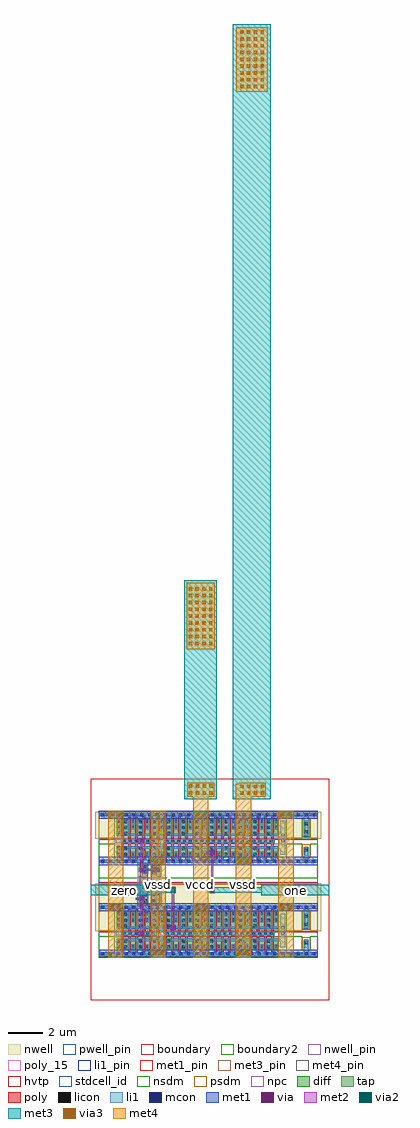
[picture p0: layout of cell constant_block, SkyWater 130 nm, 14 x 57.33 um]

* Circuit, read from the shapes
.subckt constant_block one vccd vssd zero
XM1 n1 vssd vssd vssd sky130_fd_pr__nfet_01v8 w=0.65 l=0.15 m=6
XM2 n2 vccd vssd vssd sky130_fd_pr__nfet_01v8 w=0.65 l=0.15 m=6
XM3 zero n1 vssd vssd sky130_fd_pr__nfet_01v8 w=0.65 l=0.15 m=16
XM4 one n2 vssd vssd sky130_fd_pr__nfet_01v8 w=0.65 l=0.15 m=16
XM5 n1 vssd vccd vccd sky130_fd_pr__pfet_01v8_hvt w=1 l=0.15 m=6
XM6 n2 vccd vccd vccd sky130_fd_pr__pfet_01v8_hvt w=1 l=0.15 m=6
XM7 zero n1 vccd vccd sky130_fd_pr__pfet_01v8_hvt w=1 l=0.15 m=16
XM8 one n2 vccd vccd sky130_fd_pr__pfet_01v8_hvt w=1 l=0.15 m=16
.ends

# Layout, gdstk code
from math import pi, radians
import gdstk
lib = gdstk.Library(unit=1e-6, precision=1e-09)
def R(c, l, rs):  # rectangles x0, y0, x1, y1
    for r in rs: c.add(gdstk.rectangle(r[:2], r[2:], *l))
def A(c, l, x, y, w, h, nx, ny, dx, dy):  # array of equal rectangles
    R(c, l, [(x+i*dx, y+j*dy, x+i*dx+w, y+j*dy+h) for i in range(nx) for j in range(ny)])
def P(c, l, *ps):  # polygons
    for p in ps: c.add(gdstk.Polygon(p, *l))
nwell_pin = (64, 16)
nwell = (64, 20)
diff = (65, 20)
tap = (65, 44)
poly_15 = (66, 15)
poly = (66, 20)
licon = (66, 44)
li1_pin = (67, 16)
li1 = (67, 20)
mcon = (67, 44)
met1_pin = (68, 16)
met1 = (68, 20)
via = (68, 44)
met2 = (69, 20)
via2 = (69, 44)
met3_pin = (70, 16)
met3 = (70, 20)
via3 = (70, 44)
met4_pin = (71, 16)
met4 = (71, 20)
hvtp = (78, 44)
stdcell_id = (81, 4)
nsdm = (93, 44)
psdm = (94, 20)
npc = (95, 20)
pwell_pin = (122, 16)
boundary = (235, 4)
boundary2 = (236, 0)

sky130_fd_sc_hd__buf_16 = lib.new_cell('sky130_fd_sc_hd__buf_16')
R(sky130_fd_sc_hd__buf_16, nwell_pin, [(0.15,2.635,0.32,2.805)])
R(sky130_fd_sc_hd__buf_16, nwell, [(-0.19,1.305,10.31,2.91)])
R(sky130_fd_sc_hd__buf_16, diff, [(0.135,0.235,9.625,0.885), (0.135,1.485,9.625,2.485)])
P(sky130_fd_sc_hd__buf_16, poly, [(0.395,0.105),(0.395,2.615),(0.545,2.615),(0.545,1.295),(0.815,1.295),(0.815,2.615),(0.965,2.615),(0.965,1.295),(1.235,1.295),(1.235,2.615),(1.385,2.615),(1.385,1.295),(1.655,1.295),(1.655,2.615),(1.805,2.615),(1.805,1.295),(2.075,1.295),(2.075,2.615),(2.225,2.615),(2.225,1.295),(2.495,1.295),(2.495,2.615),(2.645,2.615),(2.645,0.105),(2.495,0.105),(2.495,1.025),(2.225,1.025),(2.225,0.105),(2.075,0.105),(2.075,1.025),(1.805,1.025),(1.805,0.105),(1.655,0.105),(1.655,1.025),(1.385,1.025),(1.385,0.105),(1.235,0.105),(1.235,1.025),(0.965,1.025),(0.965,0.105),(0.815,0.105),(0.815,1.025),(0.545,1.025),(0.545,0.105)],
  [(2.915,0.105),(2.915,2.615),(3.065,2.615),(3.065,1.295),(3.335,1.295),(3.335,2.615),(3.485,2.615),(3.485,1.295),(3.755,1.295),(3.755,2.615),(3.905,2.615),(3.905,1.295),(4.175,1.295),(4.175,2.615),(4.325,2.615),(4.325,1.295),(4.595,1.295),(4.595,2.615),(4.745,2.615),(4.745,1.295),(5.015,1.295),(5.015,2.615),(5.165,2.615),(5.165,1.295),(5.435,1.295),(5.435,2.615),(5.585,2.615),(5.585,1.295),(5.855,1.295),(5.855,2.615),(6.005,2.615),(6.005,1.295),(6.275,1.295),(6.275,2.615),(6.425,2.615),(6.425,1.295),(6.695,1.295),(6.695,2.615),(6.845,2.615),(6.845,1.295),(7.115,1.295),(7.115,2.615),(7.265,2.615),(7.265,1.295),(7.535,1.295),(7.535,2.615),(7.685,2.615),(7.685,1.295),(7.955,1.295),(7.955,2.615),(8.105,2.615),(8.105,1.295),(8.375,1.295),(8.375,2.615),(8.525,2.615),(8.525,1.295),(8.795,1.295),(8.795,2.615),(8.945,2.615),(8.945,1.295),(9.215,1.295),(9.215,2.615),(9.365,2.615),(9.365,1.295),(9.385,1.295),(9.385,1.025),(9.365,1.025),(9.365,0.105),(9.215,0.105),(9.215,1.025),(8.945,1.025),(8.945,0.105),(8.795,0.105),(8.795,1.025),(8.525,1.025),(8.525,0.105),(8.375,0.105),(8.375,1.025),(8.105,1.025),(8.105,0.105),(7.955,0.105),(7.955,1.025),(7.685,1.025),(7.685,0.105),(7.535,0.105),(7.535,1.025),(7.265,1.025),(7.265,0.105),(7.115,0.105),(7.115,1.025),(6.845,1.025),(6.845,0.105),(6.695,0.105),(6.695,1.025),(6.425,1.025),(6.425,0.105),(6.275,0.105),(6.275,1.025),(6.005,1.025),(6.005,0.105),(5.855,0.105),(5.855,1.025),(5.585,1.025),(5.585,0.105),(5.435,0.105),(5.435,1.025),(5.165,1.025),(5.165,0.105),(5.015,0.105),(5.015,1.025),(4.745,1.025),(4.745,0.105),(4.595,0.105),(4.595,1.025),(4.325,1.025),(4.325,0.105),(4.175,0.105),(4.175,1.025),(3.905,1.025),(3.905,0.105),(3.755,0.105),(3.755,1.025),(3.485,1.025),(3.485,0.105),(3.335,0.105),(3.335,1.025),(3.065,1.025),(3.065,0.105)])
A(sky130_fd_sc_hd__buf_16, licon, 0.175, 0.315, 0.17, 0.17, 23, 1, 0.42, 0)
A(sky130_fd_sc_hd__buf_16, licon, 0.595, 0.655, 0.17, 0.17, 11, 2, 0.84, 0.89)
A(sky130_fd_sc_hd__buf_16, licon, 0.515, 1.075, 0.17, 0.17, 6, 1, 0.34, 0)
A(sky130_fd_sc_hd__buf_16, licon, 3.015, 1.075, 0.17, 0.17, 19, 1, 0.34, 0)
A(sky130_fd_sc_hd__buf_16, licon, 0.595, 1.885, 0.17, 0.17, 11, 2, 0.84, 0.34)
A(sky130_fd_sc_hd__buf_16, licon, 0.175, 1.915, 0.17, 0.17, 12, 2, 0.84, 0.34)
R(sky130_fd_sc_hd__buf_16, licon, [(0.175,0.655,0.345,0.825), (0.175,1.575,0.345,1.745)])
R(sky130_fd_sc_hd__buf_16, li1_pin, [(1.53,1.105,1.7,1.275), (1.99,1.105,2.16,1.275), (9.805,1.105,9.975,1.275), (9.805,1.445,9.975,1.615)])
R(sky130_fd_sc_hd__buf_16, li1, [(0.085,1.075,2.485,1.275)])
P(sky130_fd_sc_hd__buf_16, li1, [(0,-0.085),(0,0.085),(0.175,0.085),(0.175,0.905),(0.345,0.905),(0.345,0.085),(1.015,0.085),(1.015,0.565),(1.185,0.565),(1.185,0.085),(1.855,0.085),(1.855,0.565),(2.025,0.565),(2.025,0.085),(2.695,0.085),(2.695,0.565),(2.865,0.565),(2.865,0.085),(3.535,0.085),(3.535,0.565),(3.705,0.565),(3.705,0.085),(4.375,0.085),(4.375,0.565),(4.545,0.565),(4.545,0.085),(5.215,0.085),(5.215,0.565),(5.385,0.565),(5.385,0.085),(6.055,0.085),(6.055,0.565),(6.225,0.565),(6.225,0.085),(6.895,0.085),(6.895,0.565),(7.065,0.565),(7.065,0.085),(7.735,0.085),(7.735,0.565),(7.905,0.565),(7.905,0.085),(8.575,0.085),(8.575,0.565),(8.745,0.565),(8.745,0.085),(9.415,0.085),(9.415,0.565),(9.585,0.565),(9.585,0.085),(10.12,0.085),(10.12,-0.085)],
  [(0.175,1.445),(0.175,2.635),(0,2.635),(0,2.805),(10.12,2.805),(10.12,2.635),(9.585,2.635),(9.585,1.835),(9.415,1.835),(9.415,2.635),(8.745,2.635),(8.745,1.835),(8.575,1.835),(8.575,2.635),(7.905,2.635),(7.905,1.835),(7.735,1.835),(7.735,2.635),(7.065,2.635),(7.065,1.835),(6.895,1.835),(6.895,2.635),(6.225,2.635),(6.225,1.835),(6.055,1.835),(6.055,2.635),(5.385,2.635),(5.385,1.835),(5.215,1.835),(5.215,2.635),(4.545,2.635),(4.545,1.835),(4.375,1.835),(4.375,2.635),(3.705,2.635),(3.705,1.835),(3.535,1.835),(3.535,2.635),(2.865,2.635),(2.865,1.835),(2.695,1.835),(2.695,2.635),(2.025,2.635),(2.025,1.835),(1.855,1.835),(1.855,2.635),(1.185,2.635),(1.185,1.835),(1.015,1.835),(1.015,2.635),(0.345,2.635),(0.345,1.445)],
  [(0.515,0.26),(0.515,0.905),(2.69,0.905),(2.69,1.445),(0.515,1.445),(0.515,2.465),(0.845,2.465),(0.845,1.615),(1.355,1.615),(1.355,2.465),(1.685,2.465),(1.685,1.615),(2.195,1.615),(2.195,2.465),(2.525,2.465),(2.525,1.615),(2.865,1.615),(2.865,1.275),(9.41,1.275),(9.41,1.075),(2.865,1.075),(2.865,0.735),(2.525,0.735),(2.525,0.26),(2.195,0.26),(2.195,0.735),(1.685,0.735),(1.685,0.26),(1.355,0.26),(1.355,0.735),(0.845,0.735),(0.845,0.26)],
  [(3.035,0.255),(3.035,0.905),(9.655,0.905),(9.655,1.445),(3.035,1.445),(3.035,2.465),(3.365,2.465),(3.365,1.615),(3.875,1.615),(3.875,2.465),(4.205,2.465),(4.205,1.615),(4.715,1.615),(4.715,2.465),(5.045,2.465),(5.045,1.615),(5.555,1.615),(5.555,2.465),(5.885,2.465),(5.885,1.615),(6.395,1.615),(6.395,2.465),(6.725,2.465),(6.725,1.615),(7.235,1.615),(7.235,2.465),(7.565,2.465),(7.565,1.615),(8.075,1.615),(8.075,2.465),(8.405,2.465),(8.405,1.615),(8.915,1.615),(8.915,2.465),(9.245,2.465),(9.245,1.615),(9.76,1.615),(9.76,2.36),(10.035,2.36),(10.035,0.365),(9.76,0.365),(9.76,0.735),(9.245,0.735),(9.245,0.26),(8.915,0.26),(8.915,0.735),(8.405,0.735),(8.405,0.26),(8.075,0.26),(8.075,0.735),(7.565,0.735),(7.565,0.26),(7.235,0.26),(7.235,0.735),(6.725,0.735),(6.725,0.26),(6.395,0.26),(6.395,0.735),(5.885,0.735),(5.885,0.26),(5.555,0.26),(5.555,0.735),(5.045,0.735),(5.045,0.26),(4.965,0.26),(4.965,0.255),(4.795,0.255),(4.795,0.26),(4.715,0.26),(4.715,0.735),(4.205,0.735),(4.205,0.26),(4.125,0.26),(4.125,0.255),(3.955,0.255),(3.955,0.26),(3.875,0.26),(3.875,0.735),(3.365,0.735),(3.365,0.26),(3.285,0.26),(3.285,0.255)])
A(sky130_fd_sc_hd__buf_16, mcon, 0.145, -0.085, 0.17, 0.17, 22, 2, 0.46, 2.72)
R(sky130_fd_sc_hd__buf_16, met1_pin, [(0.15,-0.085,0.32,0.085), (0.15,2.635,0.32,2.805)])
R(sky130_fd_sc_hd__buf_16, hvtp, [(0,1.25,10.12,2.72)])
R(sky130_fd_sc_hd__buf_16, stdcell_id, [(0,0,10.12,2.72)])
R(sky130_fd_sc_hd__buf_16, nsdm, [(0,-0.19,10.12,1.015)])
R(sky130_fd_sc_hd__buf_16, psdm, [(0,1.355,10.12,2.91)])
R(sky130_fd_sc_hd__buf_16, npc, [(0,0.975,10.12,1.345)])
R(sky130_fd_sc_hd__buf_16, pwell_pin, [(0.15,-0.085,0.32,0.085)])
R(sky130_fd_sc_hd__buf_16, boundary2, [(0,0,10.12,2.72)])
sky130_fd_sc_hd__buf_16.add(gdstk.FlexPath([(0,0),(10.12,0)], 0.48, ends="flush", simple_path=True, layer=68, datatype=20))  # met1
sky130_fd_sc_hd__buf_16.add(gdstk.FlexPath([(0,2.72),(10.12,2.72)], 0.48, ends="flush", simple_path=True, layer=68, datatype=20))  # met1
sky130_fd_sc_hd__buf_16.add(gdstk.Label('A', (2.075,1.19), layer=67, texttype=5))
sky130_fd_sc_hd__buf_16.add(gdstk.Label('A', (1.615,1.19), layer=67, texttype=5))
sky130_fd_sc_hd__buf_16.add(gdstk.Label('X', (9.89,1.19), layer=67, texttype=5))
sky130_fd_sc_hd__buf_16.add(gdstk.Label('X', (9.89,1.53), layer=67, texttype=5))
sky130_fd_sc_hd__buf_16.add(gdstk.Label('VPB', (0.235,2.72), layer=64, texttype=5))
sky130_fd_sc_hd__buf_16.add(gdstk.Label('VNB', (0.235,0), layer=64, texttype=59))
sky130_fd_sc_hd__buf_16.add(gdstk.Label('VGND', (0.23,0), layer=68, texttype=5))
sky130_fd_sc_hd__buf_16.add(gdstk.Label('VPWR', (0.23,2.72), layer=68, texttype=5))
sky130_fd_sc_hd__buf_16.add(gdstk.Label('buf_16', (0,0), layer=83, texttype=44))

sky130_fd_sc_hd__tapvpwr = lib.new_cell('sky130_fd_sc_hd__tapvpwrvgnd_1')
R(sky130_fd_sc_hd__tapvpwr, nwell, [(-0.19,1.305,0.65,2.91)])
R(sky130_fd_sc_hd__tapvpwr, tap, [(0.145,0.32,0.315,0.845), (0.145,1.525,0.315,2.4)])
R(sky130_fd_sc_hd__tapvpwr, licon, [(0.145,0.555,0.315,0.725), (0.145,1.645,0.315,1.815), (0.145,2.11,0.315,2.28)])
R(sky130_fd_sc_hd__tapvpwr, li1, [(0,-0.085,0.46,0.085), (0.085,0,0.375,0.81), (0.085,1.47,0.375,2.72), (0,2.635,0.46,2.805)])
R(sky130_fd_sc_hd__tapvpwr, mcon, [(0.145,-0.085,0.315,0.085), (0.145,2.635,0.315,2.805)])
R(sky130_fd_sc_hd__tapvpwr, met1_pin, [(0.105,-0.09,0.36,0.1), (0.11,2.62,0.375,2.765)])
R(sky130_fd_sc_hd__tapvpwr, met1, [(0,-0.24,0.46,0.24), (0,2.48,0.46,2.96)])
R(sky130_fd_sc_hd__tapvpwr, hvtp, [(0,1.25,0.46,2.72)])
R(sky130_fd_sc_hd__tapvpwr, stdcell_id, [(0,0,0.46,2.72)])
R(sky130_fd_sc_hd__tapvpwr, nsdm, [(0,-0.19,0.46,0.19), (0,1.395,0.46,2.53)])
R(sky130_fd_sc_hd__tapvpwr, psdm, [(0,0.19,0.46,0.975), (0,2.53,0.46,2.91)])
sky130_fd_sc_hd__tapvpwr.add(gdstk.Label('VPWR', (0.23,2.72), layer=68, texttype=5))
sky130_fd_sc_hd__tapvpwr.add(gdstk.Label('VGND', (0.23,0), layer=68, texttype=5))
sky130_fd_sc_hd__tapvpwr.add(gdstk.Label('tapvpwrvgnd_1', (0,0), layer=83, texttype=44))

sky130_fd_sc_hd__fill_1 = lib.new_cell('sky130_fd_sc_hd__fill_1')
R(sky130_fd_sc_hd__fill_1, nwell_pin, [(0.155,2.67,0.255,2.755)])
R(sky130_fd_sc_hd__fill_1, nwell, [(-0.19,1.305,0.65,2.91)])
R(sky130_fd_sc_hd__fill_1, mcon, [(0.145,-0.085,0.315,0.085), (0.145,2.635,0.315,2.805)])
R(sky130_fd_sc_hd__fill_1, met1_pin, [(0.11,-0.065,0.29,0.08), (0.11,2.635,0.29,2.785)])
R(sky130_fd_sc_hd__fill_1, hvtp, [(0,1.25,0.46,2.72)])
R(sky130_fd_sc_hd__fill_1, stdcell_id, [(0,0,0.46,2.72)])
R(sky130_fd_sc_hd__fill_1, nsdm, [(0,-0.19,0.46,1.015)])
R(sky130_fd_sc_hd__fill_1, psdm, [(0,1.355,0.46,2.91)])
R(sky130_fd_sc_hd__fill_1, pwell_pin, [(0.14,-0.055,0.26,0.055)])
sky130_fd_sc_hd__fill_1.add(gdstk.FlexPath([(0,0),(0.46,0)], 0.17, ends="flush", simple_path=True, layer=67, datatype=20))  # li1
sky130_fd_sc_hd__fill_1.add(gdstk.FlexPath([(0,2.72),(0.46,2.72)], 0.17, ends="flush", simple_path=True, layer=67, datatype=20))  # li1
sky130_fd_sc_hd__fill_1.add(gdstk.FlexPath([(0,2.72),(0.46,2.72)], 0.48, ends="flush", simple_path=True, layer=68, datatype=20))  # met1
sky130_fd_sc_hd__fill_1.add(gdstk.FlexPath([(0,0),(0.46,0)], 0.48, ends="flush", simple_path=True, layer=68, datatype=20))  # met1
sky130_fd_sc_hd__fill_1.add(gdstk.Label('VPB', (0.23,2.72), layer=64, texttype=5))
sky130_fd_sc_hd__fill_1.add(gdstk.Label('VNB', (0.23,0), layer=64, texttype=59))
sky130_fd_sc_hd__fill_1.add(gdstk.Label('VPWR', (0.205,2.72), layer=68, texttype=5))
sky130_fd_sc_hd__fill_1.add(gdstk.Label('VGND', (0.205,0), layer=68, texttype=5))
sky130_fd_sc_hd__fill_1.add(gdstk.Label('fill_1', (0,0), layer=83, texttype=44))

sky130_fd_sc_hd__fill_2 = lib.new_cell('sky130_fd_sc_hd__fill_2')
R(sky130_fd_sc_hd__fill_2, nwell_pin, [(0.14,2.675,0.31,2.765)])
R(sky130_fd_sc_hd__fill_2, nwell, [(-0.19,1.305,1.11,2.91)])
R(sky130_fd_sc_hd__fill_2, mcon, [(0.145,-0.085,0.315,0.085), (0.605,-0.085,0.775,0.085), (0.145,2.635,0.315,2.805), (0.605,2.635,0.775,2.805)])
R(sky130_fd_sc_hd__fill_2, met1_pin, [(0.1,-0.07,0.365,0.09), (0.105,2.65,0.365,2.805)])
R(sky130_fd_sc_hd__fill_2, hvtp, [(0,1.25,0.92,2.72)])
R(sky130_fd_sc_hd__fill_2, stdcell_id, [(0,0,0.92,2.72)])
R(sky130_fd_sc_hd__fill_2, nsdm, [(0,-0.19,0.92,1.015)])
R(sky130_fd_sc_hd__fill_2, psdm, [(0,1.355,0.92,2.91)])
R(sky130_fd_sc_hd__fill_2, pwell_pin, [(0.155,-0.05,0.315,0.06)])
sky130_fd_sc_hd__fill_2.add(gdstk.FlexPath([(0,0),(0.92,0)], 0.17, ends="flush", simple_path=True, layer=67, datatype=20))  # li1
sky130_fd_sc_hd__fill_2.add(gdstk.FlexPath([(0,2.72),(0.92,2.72)], 0.17, ends="flush", simple_path=True, layer=67, datatype=20))  # li1
sky130_fd_sc_hd__fill_2.add(gdstk.FlexPath([(0,2.72),(0.92,2.72)], 0.48, ends="flush", simple_path=True, layer=68, datatype=20))  # met1
sky130_fd_sc_hd__fill_2.add(gdstk.FlexPath([(0,0),(0.92,0)], 0.48, ends="flush", simple_path=True, layer=68, datatype=20))  # met1
sky130_fd_sc_hd__fill_2.add(gdstk.Label('VPB', (0.23,2.72), layer=64, texttype=5))
sky130_fd_sc_hd__fill_2.add(gdstk.Label('VNB', (0.23,0), layer=64, texttype=59))
sky130_fd_sc_hd__fill_2.add(gdstk.Label('VGND', (0.23,0), layer=68, texttype=5))
sky130_fd_sc_hd__fill_2.add(gdstk.Label('VPWR', (0.23,2.72), layer=68, texttype=5))
sky130_fd_sc_hd__fill_2.add(gdstk.Label('fill_2', (0,0), layer=83, texttype=44))

sky130_fd_sc_hd__fill_8 = lib.new_cell('sky130_fd_sc_hd__fill_8')
R(sky130_fd_sc_hd__fill_8, nwell_pin, [(0.1,2.61,0.385,2.765)])
R(sky130_fd_sc_hd__fill_8, nwell, [(-0.19,1.305,3.87,2.91)])
A(sky130_fd_sc_hd__fill_8, mcon, 0.145, -0.085, 0.17, 0.17, 8, 2, 0.46, 2.72)
R(sky130_fd_sc_hd__fill_8, met1_pin, [(0.175,-0.1,0.335,0.05), (0.145,2.615,0.335,2.775)])
R(sky130_fd_sc_hd__fill_8, hvtp, [(0,1.25,3.68,2.72)])
R(sky130_fd_sc_hd__fill_8, stdcell_id, [(0,0,3.68,2.72)])
R(sky130_fd_sc_hd__fill_8, nsdm, [(0,-0.19,3.68,1.015)])
R(sky130_fd_sc_hd__fill_8, psdm, [(0,1.355,3.68,2.91)])
R(sky130_fd_sc_hd__fill_8, pwell_pin, [(0.13,-0.12,0.35,0.05)])
sky130_fd_sc_hd__fill_8.add(gdstk.FlexPath([(0,0),(3.68,0)], 0.17, ends="flush", simple_path=True, layer=67, datatype=20))  # li1
sky130_fd_sc_hd__fill_8.add(gdstk.FlexPath([(0,2.72),(3.68,2.72)], 0.17, ends="flush", simple_path=True, layer=67, datatype=20))  # li1
sky130_fd_sc_hd__fill_8.add(gdstk.FlexPath([(0,2.72),(3.68,2.72)], 0.48, ends="flush", simple_path=True, layer=68, datatype=20))  # met1
sky130_fd_sc_hd__fill_8.add(gdstk.FlexPath([(0,0),(3.68,0)], 0.48, ends="flush", simple_path=True, layer=68, datatype=20))  # met1
sky130_fd_sc_hd__fill_8.add(gdstk.Label('VPB', (0.23,2.72), layer=64, texttype=5))
sky130_fd_sc_hd__fill_8.add(gdstk.Label('VNB', (0.23,0), layer=64, texttype=59))
sky130_fd_sc_hd__fill_8.add(gdstk.Label('VGND', (0.23,0), layer=68, texttype=5))
sky130_fd_sc_hd__fill_8.add(gdstk.Label('VPWR', (0.23,2.72), layer=68, texttype=5))
sky130_fd_sc_hd__fill_8.add(gdstk.Label('fill_8', (0,0), layer=83, texttype=44))

sky130_fd_sc_hd__fill_4 = lib.new_cell('sky130_fd_sc_hd__fill_4')
R(sky130_fd_sc_hd__fill_4, nwell_pin, [(0.175,2.65,0.3,2.78)])
R(sky130_fd_sc_hd__fill_4, nwell, [(-0.19,1.305,2.03,2.91)])
A(sky130_fd_sc_hd__fill_4, mcon, 0.145, -0.085, 0.17, 0.17, 4, 2, 0.46, 2.72)
R(sky130_fd_sc_hd__fill_4, met1_pin, [(0.17,-0.05,0.285,0.045), (0.17,2.675,0.27,2.76)])
R(sky130_fd_sc_hd__fill_4, hvtp, [(0,1.25,1.84,2.72)])
R(sky130_fd_sc_hd__fill_4, stdcell_id, [(0,0,1.84,2.72)])
R(sky130_fd_sc_hd__fill_4, nsdm, [(0,-0.19,1.84,1.015)])
R(sky130_fd_sc_hd__fill_4, psdm, [(0,1.355,1.84,2.91)])
R(sky130_fd_sc_hd__fill_4, pwell_pin, [(0.175,-0.06,0.285,0.06)])
sky130_fd_sc_hd__fill_4.add(gdstk.FlexPath([(0,0),(1.84,0)], 0.17, ends="flush", simple_path=True, layer=67, datatype=20))  # li1
sky130_fd_sc_hd__fill_4.add(gdstk.FlexPath([(0,2.72),(1.84,2.72)], 0.17, ends="flush", simple_path=True, layer=67, datatype=20))  # li1
sky130_fd_sc_hd__fill_4.add(gdstk.FlexPath([(0,2.72),(1.84,2.72)], 0.48, ends="flush", simple_path=True, layer=68, datatype=20))  # met1
sky130_fd_sc_hd__fill_4.add(gdstk.FlexPath([(0,0),(1.84,0)], 0.48, ends="flush", simple_path=True, layer=68, datatype=20))  # met1
sky130_fd_sc_hd__fill_4.add(gdstk.Label('VPB', (0.23,2.72), layer=64, texttype=5))
sky130_fd_sc_hd__fill_4.add(gdstk.Label('VNB', (0.23,0), layer=64, texttype=59))
sky130_fd_sc_hd__fill_4.add(gdstk.Label('VGND', (0.23,0), layer=68, texttype=5))
sky130_fd_sc_hd__fill_4.add(gdstk.Label('VPWR', (0.23,2.72), layer=68, texttype=5))
sky130_fd_sc_hd__fill_4.add(gdstk.Label('fill_4', (0,0), layer=83, texttype=44))

sky130_fd_sc_hd__conb_1 = lib.new_cell('sky130_fd_sc_hd__conb_1')
R(sky130_fd_sc_hd__conb_1, nwell_pin, [(0.145,2.635,0.315,2.805)])
R(sky130_fd_sc_hd__conb_1, nwell, [(-0.19,1.305,1.57,2.91)])
R(sky130_fd_sc_hd__conb_1, poly_15, [(0.105,1.16,0.585,1.205), (0.795,1.16,1.275,1.205)])
R(sky130_fd_sc_hd__conb_1, poly, [(0.105,0.105,0.585,2.615), (0.795,0.105,1.275,2.615)])
R(sky130_fd_sc_hd__conb_1, licon, [(0.855,0.235,1.025,0.405), (0.355,0.255,0.525,0.425), (0.855,0.575,1.025,0.745), (0.355,0.595,0.525,0.765), (0.355,1.91,0.525,2.08), (0.855,1.91,1.025,2.08), (0.355,2.25,0.525,2.42), (0.855,2.25,1.025,2.42)])
R(sky130_fd_sc_hd__conb_1, li1_pin, [(0.335,1.125,0.505,1.295), (0.97,1.445,1.14,1.615)])
R(sky130_fd_sc_hd__conb_1, li1, [(0.085,0.255,0.605,1.74), (0.775,0.915,1.295,2.465)])
P(sky130_fd_sc_hd__conb_1, li1, [(0,-0.085),(0,0.085),(0.775,0.085),(0.775,0.745),(1.115,0.745),(1.115,0.085),(1.38,0.085),(1.38,-0.085)],
  [(0.275,1.91),(0.275,2.635),(0,2.635),(0,2.805),(1.38,2.805),(1.38,2.635),(0.605,2.635),(0.605,1.91)])
A(sky130_fd_sc_hd__conb_1, mcon, 0.145, -0.085, 0.17, 0.17, 3, 2, 0.46, 2.72)
R(sky130_fd_sc_hd__conb_1, met1_pin, [(0.145,-0.085,0.315,0.085), (0.145,2.635,0.315,2.805)])
R(sky130_fd_sc_hd__conb_1, hvtp, [(0,1.25,1.38,2.72)])
R(sky130_fd_sc_hd__conb_1, stdcell_id, [(0,0,1.38,2.72)])
R(sky130_fd_sc_hd__conb_1, nsdm, [(0,-0.19,1.38,1.015)])
R(sky130_fd_sc_hd__conb_1, psdm, [(0,2.53,1.38,2.91)])
R(sky130_fd_sc_hd__conb_1, npc, [(0.255,1.81,1.125,2.52)])
P(sky130_fd_sc_hd__conb_1, npc, [(0.255,0.135),(0.255,0.905),(0,0.905),(0,1.345),(1.38,1.345),(1.38,0.905),(1.125,0.905),(1.125,0.135)])
R(sky130_fd_sc_hd__conb_1, pwell_pin, [(0.145,-0.085,0.315,0.085)])
R(sky130_fd_sc_hd__conb_1, boundary2, [(0,0,1.38,2.72)])
sky130_fd_sc_hd__conb_1.add(gdstk.FlexPath([(0,0),(1.38,0)], 0.48, ends="flush", simple_path=True, layer=68, datatype=20))  # met1
sky130_fd_sc_hd__conb_1.add(gdstk.FlexPath([(0,2.72),(1.38,2.72)], 0.48, ends="flush", simple_path=True, layer=68, datatype=20))  # met1
sky130_fd_sc_hd__conb_1.add(gdstk.Label('LO', (1.055,1.53), layer=67, texttype=5))
sky130_fd_sc_hd__conb_1.add(gdstk.Label('HI', (0.42,1.21), layer=67, texttype=5))
sky130_fd_sc_hd__conb_1.add(gdstk.Label('VPB', (0.23,2.72), layer=64, texttype=5))
sky130_fd_sc_hd__conb_1.add(gdstk.Label('VNB', (0.23,0), layer=64, texttype=59))
sky130_fd_sc_hd__conb_1.add(gdstk.Label('VGND', (0.23,0), layer=68, texttype=5))
sky130_fd_sc_hd__conb_1.add(gdstk.Label('VPWR', (0.23,2.72), layer=68, texttype=5))
sky130_fd_sc_hd__conb_1.add(gdstk.Label('conb_1', (0,0), layer=83, texttype=44))
sky130_fd_sc_hd__conb_1.add(gdstk.Label('resistive_li1_ok', (0.225,1.365), layer=83, texttype=44))
sky130_fd_sc_hd__conb_1.add(gdstk.Label('resistive_li1_ok', (1.165,1.365), layer=83, texttype=44))
sky130_fd_sc_hd__conb_1.add(gdstk.Label('no_jumper_check', (0.93,1.29), layer=83, texttype=44))
sky130_fd_sc_hd__conb_1.add(gdstk.Label('no_jumper_check', (0.415,1.29), layer=83, texttype=44))

constant_block = lib.new_cell('constant_block')
R(constant_block, li1, [(2.905,3.825,3.075,3.995), (4.745,4.165,4.915,4.335), (2.905,5.865,3.075,6.035), (3.825,7.565,3.995,7.735), (7.045,8.585,7.215,8.755), (2.905,9.265,3.075,9.435)])
R(constant_block, mcon, [(2.905,3.825,3.075,3.995), (4.745,4.165,4.915,4.335), (2.905,5.865,3.075,6.035), (3.825,7.565,3.995,7.735), (7.045,8.585,7.215,8.755), (2.905,9.265,3.075,9.435)])
A(constant_block, met1, 0.46, 2.48, 12.88, 0.48, 1, 4, 0, 2.72)
R(constant_block, met1, [(2.83,3.78,3.15,3.84), (2.635,3.84,3.15,3.98), (2.83,3.98,3.15,4.04), (4.67,4.12,4.99,4.18), (4.475,4.18,4.99,4.32), (4.67,4.32,4.99,4.38), (2.83,5.82,3.15,5.88), (2.635,5.88,3.15,6.02), (2.83,6.02,3.15,6.08), (2.83,7.52,3.15,7.58), (3.765,7.535,4.055,7.58), (2.83,7.58,4.055,7.72), (2.83,7.72,3.15,7.78), (3.765,7.72,4.055,7.765), (6.97,8.54,7.29,8.6), (6.775,8.6,7.29,8.74), (6.97,8.74,7.29,8.8), (2.83,9.22,3.15,9.28), (2.635,9.28,3.15,9.42), (2.83,9.42,3.15,9.48)])
A(constant_block, via, 2.915, 5.875, 0.15, 0.15, 1, 3, 0, 1.7)
R(constant_block, via, [(3.725,2.645,3.875,2.795), (4.045,2.645,4.195,2.795), (8.725,2.645,8.875,2.795), (9.045,2.645,9.195,2.795), (2.915,3.835,3.065,3.985), (4.755,4.175,4.905,4.325), (1.225,5.365,1.375,5.515), (1.545,5.365,1.695,5.515), (6.225,5.365,6.375,5.515), (6.545,5.365,6.695,5.515), (11.225,5.365,11.375,5.515), (11.545,5.365,11.695,5.515), (3.725,8.085,3.875,8.235), (4.045,8.085,4.195,8.235), (8.725,8.085,8.875,8.235), (9.045,8.085,9.195,8.235), (7.055,8.595,7.205,8.745), (1.225,10.805,1.375,10.955), (1.545,10.805,1.695,10.955), (6.225,10.805,6.375,10.955), (6.545,10.805,6.695,10.955), (11.225,10.805,11.375,10.955), (11.545,10.805,11.695,10.955)])
A(constant_block, met2, 1.12, 5.255, 0.68, 0.37, 3, 2, 5, 5.44)
A(constant_block, met2, 2.86, 5.79, 0.26, 0.32, 1, 3, 0, 1.7)
R(constant_block, met2, [(3.62,2.535,4.3,2.905), (8.62,2.535,9.3,2.905), (2.86,3.75,3.12,4.07), (2.92,4.07,3.06,5.79), (4.7,4.09,4.96,4.41), (4.76,4.41,4.9,6.275), (4.69,6.275,4.97,6.645), (6.99,6.275,7.27,6.645), (7.06,6.645,7.2,8.51), (2.92,7.81,3.06,9.19), (3.62,7.975,4.3,8.345), (8.62,7.975,9.3,8.345), (7,8.51,7.26,8.83)])
R(constant_block, via2, [(3.66,2.62,3.86,2.82), (4.06,2.62,4.26,2.82), (8.66,2.62,8.86,2.82), (9.06,2.62,9.26,2.82), (1.16,5.34,1.36,5.54), (1.56,5.34,1.76,5.54), (6.16,5.34,6.36,5.54), (6.56,5.34,6.76,5.54), (11.16,5.34,11.36,5.54), (11.56,5.34,11.76,5.54), (4.73,6.36,4.93,6.56), (7.03,6.36,7.23,6.56), (3.66,8.06,3.86,8.26), (4.06,8.06,4.26,8.26), (8.66,8.06,8.86,8.26), (9.06,8.06,9.26,8.26), (1.16,10.78,1.36,10.98), (1.56,10.78,1.76,10.98), (6.16,10.78,6.36,10.98), (6.56,10.78,6.76,10.98), (11.16,10.78,11.36,10.98), (11.56,10.78,11.76,10.98)])
R(constant_block, met3_pin, [(0,6.16,4,6.76), (10,6.16,14,6.76)])
A(constant_block, met3, 1.07, 5.275, 0.78, 0.33, 3, 2, 5, 5.44)
R(constant_block, met3, [(3.57,2.555,4.35,2.885), (8.57,2.555,9.35,2.885), (0,6.16,4,6.31), (10,6.16,14,6.31), (4.665,6.295,4.995,6.31), (6.965,6.295,7.295,6.31), (0,6.31,4.995,6.61), (6.965,6.31,14,6.61), (0,6.61,4,6.76), (4.665,6.61,4.995,6.625), (6.965,6.61,7.295,6.625), (10,6.61,14,6.76), (3.57,7.995,4.35,8.325), (8.57,7.995,9.35,8.325), (5.49,11.79,7.395,24.66), (8.325,11.79,10.575,57.33)])
A(constant_block, via3, 8.775, 12.055, 0.2, 0.2, 4, 2, 0.4, 0.4)
A(constant_block, via3, 5.765, 12.06, 0.2, 0.2, 4, 2, 0.4, 0.4)
A(constant_block, via3, 5.745, 20.85, 0.2, 0.2, 4, 9, 0.4, 0.4)
A(constant_block, via3, 8.77, 53.555, 0.2, 0.2, 4, 9, 0.4, 0.4)
R(constant_block, via3, [(3.66,2.62,3.86,2.82), (4.06,2.62,4.26,2.82), (8.66,2.62,8.86,2.82), (9.06,2.62,9.26,2.82), (1.16,5.34,1.36,5.54), (1.56,5.34,1.76,5.54), (6.16,5.34,6.36,5.54), (6.56,5.34,6.76,5.54), (11.16,5.34,11.36,5.54), (11.56,5.34,11.76,5.54), (3.66,8.06,3.86,8.26), (4.06,8.06,4.26,8.26), (8.66,8.06,8.86,8.26), (9.06,8.06,9.26,8.26), (1.16,10.78,1.36,10.98), (1.56,10.78,1.76,10.98), (6.16,10.78,6.36,10.98), (6.56,10.78,6.76,10.98), (11.16,10.78,11.36,10.98), (11.56,10.78,11.76,10.98)])
A(constant_block, met4_pin, 1.01, 2.48, 0.9, 8.64, 5, 1, 2.5, 0)
A(constant_block, met4, 1.01, 2.48, 0.9, 8.64, 5, 1, 2.5, 0)
R(constant_block, met4, [(6.01,10.615,6.91,11.93), (8.51,10.615,9.41,11.93), (5.665,11.93,7.26,12.77), (8.51,11.93,10.27,12.715), (8.675,12.715,10.27,12.77), (5.625,20.595,7.265,24.5), (8.555,53.36,10.38,57.145)])
R(constant_block, boundary, [(0,0,14,13)])
constant_block.add(gdstk.Reference(sky130_fd_sc_hd__buf_16, (1.38,8.16)))
constant_block.add(gdstk.Reference(sky130_fd_sc_hd__tapvpwr, (12.42,8.16)))
constant_block.add(gdstk.Reference(sky130_fd_sc_hd__fill_1, (12.88,8.16)))
constant_block.add(gdstk.Reference(sky130_fd_sc_hd__fill_2, (11.5,8.16)))
constant_block.add(gdstk.Reference(sky130_fd_sc_hd__fill_2, (0.46,8.16)))
constant_block.add(gdstk.Reference(sky130_fd_sc_hd__buf_16, (1.38,2.72)))
constant_block.add(gdstk.Reference(sky130_fd_sc_hd__fill_2, (11.5,2.72)))
constant_block.add(gdstk.Reference(sky130_fd_sc_hd__fill_1, (12.88,2.72)))
constant_block.add(gdstk.Reference(sky130_fd_sc_hd__fill_8, (7.82,8.16), x_reflection=True))
constant_block.add(gdstk.Reference(sky130_fd_sc_hd__fill_4, (11.5,8.16), x_reflection=True))
constant_block.add(gdstk.Reference(sky130_fd_sc_hd__tapvpwr, (12.42,2.72)))
constant_block.add(gdstk.Reference(sky130_fd_sc_hd__fill_2, (0.46,2.72)))
constant_block.add(gdstk.Reference(sky130_fd_sc_hd__fill_4, (0.46,8.16), x_reflection=True))
constant_block.add(gdstk.Reference(sky130_fd_sc_hd__fill_1, (2.3,8.16), x_reflection=True))
constant_block.add(gdstk.Reference(sky130_fd_sc_hd__fill_8, (4.14,8.16), x_reflection=True))
constant_block.add(gdstk.Reference(sky130_fd_sc_hd__conb_1, (4.14,8.16), rotation=pi))
constant_block.add(gdstk.Label('zero', (2,6.46), layer=70, texttype=16))
constant_block.add(gdstk.Label('one', (12,6.46), layer=70, texttype=16))
constant_block.add(gdstk.Label('vssd', (8.96,6.8), layer=71, texttype=16))
constant_block.add(gdstk.Label('vssd', (3.96,6.8), layer=71, texttype=16))
constant_block.add(gdstk.Label('vccd', (11.46,6.8), layer=71, texttype=16))
constant_block.add(gdstk.Label('vccd', (6.46,6.8), layer=71, texttype=16))
constant_block.add(gdstk.Label('vccd', (1.46,6.8), layer=71, texttype=16))

lib.write_gds('constant_block.gds')
